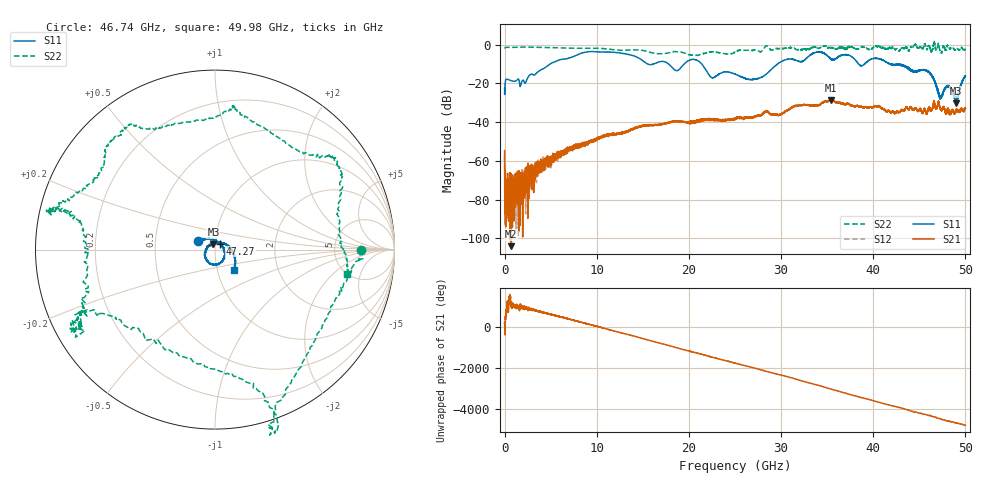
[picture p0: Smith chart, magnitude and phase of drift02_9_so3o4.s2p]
!Created with skrf (http://scikit-rf.org).
# Hz S RI R 50.0
!freq ReS11 ImS11 ReS21 ImS21 ReS12 ImS12 ReS22 ImS22
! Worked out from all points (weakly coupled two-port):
!   10001 points, 300 kHz to 50 GHz, reference 50 ohm
!   highest |S21| = -28.59 dB at 35.39 GHz (marker M1); lowest = -104.0 dB at 730.3 MHz (marker M2)
!   lowest |S11| = -30.3 dB at 49.02 GHz (marker M3), VSWR 1.06, Z = 49.1 + j2.89 ohm
!   |S11| at or under -10 dB: start of sweep to 4.957 GHz; 21.37 GHz to 29.64 GHz (8.265 GHz wide, 32.4 % of centre); 41.85 GHz to end of sweep (the widest 3 of 9)
!   |S22| runs from -5.7 to 2.1 dB; largest |S21 - S12| = 0.0034
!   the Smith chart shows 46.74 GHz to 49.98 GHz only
!   S11 on the Smith chart (normalised r, x): 46.74 GHz: 0.83, +0.08; 47.27 GHz: 1.05, +0.07; 49.98 GHz: 1.20, -0.27
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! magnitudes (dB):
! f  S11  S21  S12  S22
! 300 kHz  -22.6  -54.7  -57.1  -2.1
! 255.3 MHz  -17.9  -79.0  -69.2  -1.4
! 730.3 MHz  -18.7  -104.0  -76.9  -1.5
! 1.875 GHz  -19.1  -67.7  -68.3  -1.3
! 8.335 GHz  -4.5  -51.9  -52.0  -1.9
! 16.67 GHz  -9.1  -41.3  -41.4  -4.7
! 18.7 GHz  -13.5  -39.5  -39.5  -3.7
! 20.59 GHz  -7.7  -39.5  -39.9  -5.7
! 22.5 GHz  -17.2  -38.8  -38.6  -3.8
! 25 GHz  -15.3  -38.4  -38.5  -3.9
! 27.43 GHz  -17.7  -36.5  -36.9  -3.1
! 30.23 GHz  -8.3  -35.3  -35.0  -2.0
! 33.34 GHz  -4.9  -31.6  -31.2  -1.6
! 35.39 GHz  -7.4  -28.6  -28.7  -1.5
! 41.67 GHz  -9.7  -34.0  -34.2  -1.9
! 45.76 GHz  -13.4  -35.4  -35.4  -1.7
! 46.74 GHz  -19.7  -32.6  -32.2  -1.8
! 47.27 GHz  -27.3  -32.9  -32.9  -3.4
! 48.14 GHz  -21.7  -33.5  -33.6  -0.8
! 49.02 GHz  -30.3  -35.0  -33.9  -2.2
! 49.98 GHz  -16.3  -32.7  -32.6  -2.5
! 50 GHz  -16.3  -33.0  -32.8  -2.6
